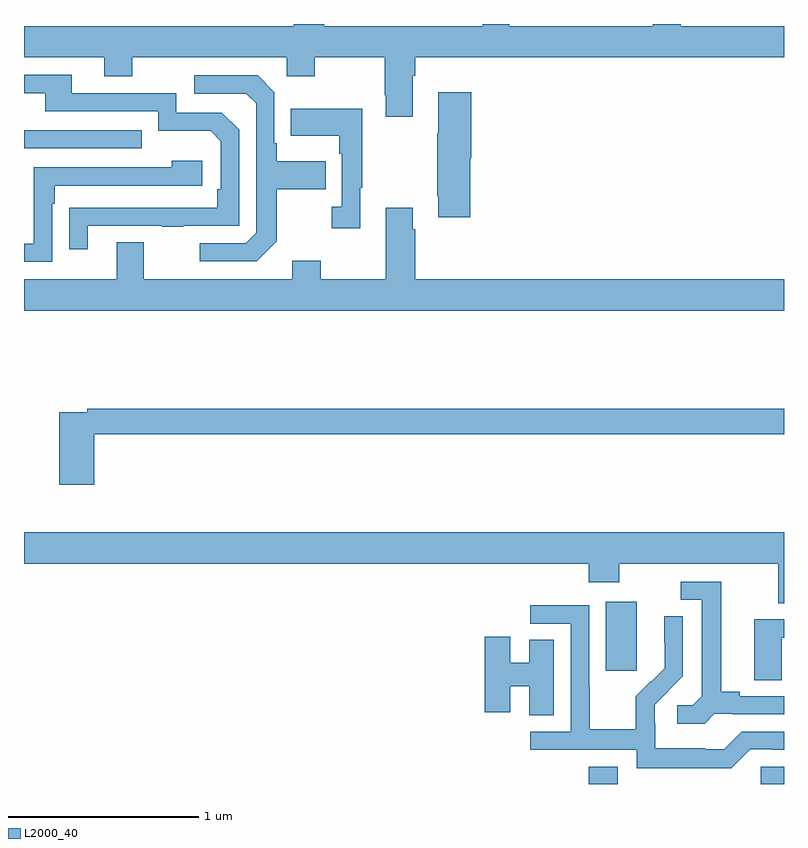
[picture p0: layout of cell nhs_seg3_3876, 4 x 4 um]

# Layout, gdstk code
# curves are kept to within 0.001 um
import gdstk
lib = gdstk.Library(unit=1e-6, precision=1e-09)
def R(c, l, rs):  # rectangles x0, y0, x1, y1
    for r in rs: c.add(gdstk.rectangle(r[:2], r[2:], *l))
def P(c, l, *ps):  # polygons
    for p in ps: c.add(gdstk.Polygon(p, *l))
L2000_40 = (2000, 40)

nhs_seg3_3876 = lib.new_cell('nhs_seg3_3876')
R(nhs_seg3_3876, L2000_40, [(313.973,722.4,314.125,722.491), (314.877,722.4,315,722.49), (314.063,722.997,314.224,723.358), (311,725.745,311.621,725.841)])
P(nhs_seg3_3876, L2000_40, [(314.309,726.4),(314.309,726.388),(313.555,726.388),(313.555,726.4),(313.415,726.4),(313.415,726.388),(312.579,726.388),(312.579,726.4),(312.419,726.4),(312.419,726.388),(311,726.388),(311,726.224),(311.423,726.224),(311.423,726.125),(311.571,726.125),(311.571,726.224),(312.384,726.224),(312.384,726.125),(312.531,726.125),(312.531,726.224),(312.898,726.224),(312.898,726.025),(312.905,726.025),(312.905,725.913),(313.045,725.913),(313.045,726.128),(313.058,726.128),(313.058,726.224),(315,726.224),(315,726.388),(314.457,726.388),(314.457,726.4)],
  [(311.335,725.337),(311.725,725.337),(311.725,725.332),(311.837,725.332),(311.837,725.337),(312.132,725.337),(312.132,725.844),(312.042,725.934),(311.802,725.934),(311.802,726.036),(311.251,726.036),(311.251,726.132),(311,726.132),(311,726.036),(311.111,726.036),(311.111,725.94),(311.706,725.94),(311.706,725.837),(311.983,725.837),(312.036,725.784),(312.036,725.53),(312.016,725.53),(312.016,725.433),(311.239,725.432),(311.239,725.214),(311.335,725.214)],
  [(312.331,725.257),(312.331,725.53),(312.587,725.53),(312.587,725.677),(312.331,725.677),(312.331,725.773),(312.318,725.773),(312.318,726.042),(312.231,726.129),(311.895,726.129),(311.895,726.033),(312.171,726.033),(312.222,725.982),(312.222,725.301),(312.168,725.247),(311.925,725.247),(311.925,725.151),(312.225,725.151)],
  [(313.349,725.694),(313.354,725.694),(313.354,726.04),(313.181,726.04),(313.181,725.825),(313.174,725.825),(313.174,725.494),(313.181,725.494),(313.181,725.382),(313.349,725.382)],
  [(312.769,725.537),(312.781,725.537),(312.781,725.953),(312.403,725.953),(312.403,725.813),(312.66,725.813),(312.66,725.717),(312.672,725.717),(312.672,725.438),(312.621,725.438),(312.621,725.325),(312.769,725.325)],
  [(311.148,725.453),(311.161,725.453),(311.161,725.55),(311.938,725.55),(311.938,725.68),(311.777,725.68),(311.777,725.646),(311.052,725.646),(311.052,725.244),(311,725.244),(311,725.148),(311.148,725.148)],
  [(315,725.056),(313.058,725.056),(313.058,725.321),(313.045,725.321),(313.045,725.434),(312.905,725.434),(312.905,725.056),(312.561,725.056),(312.561,725.155),(312.413,725.155),(312.413,725.056),(311.629,725.056),(311.629,725.251),(311.489,725.251),(311.489,725.056),(311,725.056),(311,724.892),(315,724.892)],
  [(311.369,724.24),(315,724.24),(315,724.376),(311.332,724.376),(311.332,724.356),(311.186,724.356),(311.186,723.975),(311.369,723.975)],
  [(315,723.724),(311,723.724),(311,723.56),(313.973,723.56),(313.973,723.461),(314.133,723.461),(314.133,723.56),(314.969,723.56),(314.969,723.352),(315,723.352)],
  [(314.634,722.769),(314.728,722.769),(314.728,722.766),(315,722.766),(315,722.862),(314.767,722.862),(314.767,722.885),(314.671,722.885),(314.671,723.465),(314.457,723.465),(314.457,723.369),(314.567,723.369),(314.567,722.861),(314.52,722.814),(314.439,722.814),(314.439,722.717),(314.582,722.717)],
  [(314.823,722.583),(314.939,722.583),(314.939,722.58),(315,722.58),(315,722.676),(314.778,722.676),(314.685,722.583),(314.585,722.583),(314.585,722.587),(314.322,722.587),(314.322,722.721),(314.32,722.721),(314.32,722.818),(314.466,722.966),(314.466,723.284),(314.369,723.284),(314.369,723.143),(314.372,723.143),(314.372,723.008),(314.301,722.937),(314.298,722.94),(314.221,722.863),(314.221,722.689),(313.977,722.689),(313.977,722.909),(313.974,722.909),(313.974,723.342),(313.665,723.342),(313.665,723.243),(313.878,723.243),(313.878,722.676),(313.665,722.676),(313.665,722.58),(314.226,722.58),(314.226,722.483),(314.723,722.483)],
  [(314.988,723.171),(315,723.171),(315,723.267),(314.843,723.267),(314.843,722.947),(314.988,722.947)],
  [(313.789,723.158),(313.658,723.158),(313.658,723.037),(313.558,723.037),(313.558,723.175),(313.424,723.175),(313.424,722.778),(313.558,722.778),(313.558,722.915),(313.658,722.915),(313.658,722.761),(313.789,722.761)])

lib.write_gds('nhs_seg3_3876.gds')
